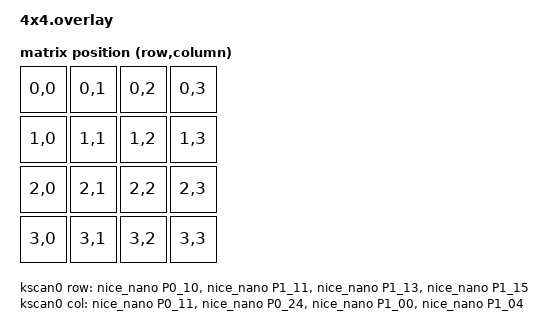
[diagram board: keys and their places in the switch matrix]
/ {
    kscan0: kscan0 {
        compatible = "zmk,kscan-gpio-matrix";
        diode-direction = "col2row";
        wakeup-source;
        
        // 4 kolumny (wyjścia)
        col-gpios = <&nice_nano P0_11 GPIO_ACTIVE_HIGH>
                   , <&nice_nano P0_24 GPIO_ACTIVE_HIGH>
                   , <&nice_nano P1_00 GPIO_ACTIVE_HIGH>
                   , <&nice_nano P1_04 GPIO_ACTIVE_HIGH>;  // dodatkowy pin
        
        // 4 wiersze (wejścia)
        row-gpios = <&nice_nano P0_10 (GPIO_ACTIVE_HIGH | GPIO_PULL_DOWN)>
                   , <&nice_nano P1_11 (GPIO_ACTIVE_HIGH | GPIO_PULL_DOWN)>
                   , <&nice_nano P1_13 (GPIO_ACTIVE_HIGH | GPIO_PULL_DOWN)>
                   , <&nice_nano P1_15 (GPIO_ACTIVE_HIGH | GPIO_PULL_DOWN)>;  // dodatkowy pin
    };

    #include <dt-bindings/zmk/matrix_transform.h>

    default_transform: keymap_transform0 {
        compatible = "zmk,matrix-transform";
        columns = <4>;
        rows = <4>;
        map = <
            RC(0,0) RC(0,1) RC(0,2) RC(0,3)
            RC(1,0) RC(1,1) RC(1,2) RC(1,3)
            RC(2,0) RC(2,1) RC(2,2) RC(2,3)
            RC(3,0) RC(3,1) RC(3,2) RC(3,3)
        >;
    };

    physical_layout0: physical_layout_0 {
        compatible = "zmk,physical-layout";
        display-name = "4x4 Custom Layout";
        kscan = <&kscan0>;
        transform = <&default_transform>;
    };

    chosen {
        zmk,physical-layout = &physical_layout0;
        zmk,kscan = <&kscan0>;
    };
};
&spi1 {
    st7789v: st7789v@0 {
        compatible = "solomon,ssd1306fb";  # Kompatybilne z ST7789V w ZMK
        reg = <0>;  # CS=0
        reset-gpios = <&nice_nano P0_30 GPIO_ACTIVE_LOW>;
        dc-gpios = <&nice_nano P0_31 GPIO_ACTIVE_LOW>;
        width = <240>;
        height = <240>;
        rotation = <0>;
        segment-offset = <0>;
        page-offset = <0>;
        mux-gpios = <&nice_nano P1_01 GPIO_ACTIVE_LOW>;  # CS
        backlight = <&backlight>;
    };
};

backlight: backlight {
    compatible = "gpio-leds";
    st7789v_bl: st7789v_bl {
        gpios = <&nice_nano P0_29 GPIO_ACTIVE_HIGH>;  # PWM backlight (opcjonalnie)
        label = "ST7789V Backlight";
    };
};
